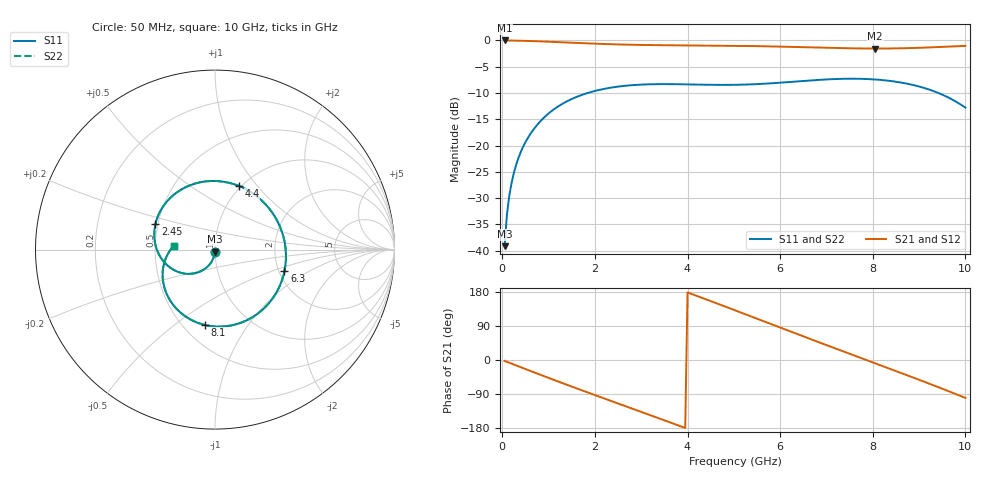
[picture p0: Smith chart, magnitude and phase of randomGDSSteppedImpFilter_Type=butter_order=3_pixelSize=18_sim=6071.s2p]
! freq	dB(S11)	phase(S11)	dB(S12)	phase(S12)
!  dB(S21)	phase(S21)	dB(S22)	phase(S22)
!S-par simulation data
#  GHz  S  DB  R 50
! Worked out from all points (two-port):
!   200 points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, 50 MHz to 10 GHz, reference 50 ohm
!   highest |S21| = 0.00 dB at 50 MHz (marker M1); lowest = -1.5 dB at 8.05 GHz (marker M2)
!   |S21| within 3 dB of the highest: start of sweep to end of sweep
!   lowest |S11| = -39.1 dB at 50 MHz (marker M3), VSWR 1.02, Z = 49.9 - j1.1 ohm
!   |S11| at or under -10 dB: start of sweep to 1.843 GHz; 9.417 GHz to end of sweep
!   |S22| runs from -39.1 to -7.3 dB; largest |S21 - S12| = 0
!   S11 on the Smith chart (normalised r, x): 50 MHz: 1.00, -0.02; 2.45 GHz: 0.48, +0.16; 4.4 GHz: 0.98, +0.81; 6.3 GHz: 2.14, -0.62; 8.1 GHz: 0.63, -0.65; 10 GHz: 0.63, +0.03
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0.05  -39.15 -92.2  -0.00 -2.4  -0.00 -2.4  -39.15 -92.2
0.1  -33.13 -94.8  -0.01 -4.8  -0.01 -4.8  -33.13 -94.8
0.2  -27.13 -99.8  -0.02 -9.6  -0.02 -9.6  -27.13 -99.8
0.35  -22.33 -107.2  -0.05 -16.7  -0.05 -16.7  -22.33 -107.2
0.5  -19.35 -114.7  -0.08 -23.8  -0.08 -23.8  -19.35 -114.7
1.15  -12.88 -144.9  -0.29 -54.2  -0.29 -54.2  -12.88 -144.9
1.75  -10.26 -172.2  -0.53 -81.5  -0.53 -81.5  -10.26 -172.2
2.45  -8.84 156.6  -0.75 -112.6  -0.75 -112.6  -8.84 156.6
3.4  -8.31 114.5  -0.90 -154.7  -0.90 -154.7  -8.31 114.5
3.9  -8.34 92.1  -0.94 -177.1  -0.94 -177.1  -8.34 92.1
4.4  -8.43 69.5  -0.97 160.1  -0.97 160.1  -8.43 69.5
5.05  -8.44 39.8  -1.02 130.0  -1.02 130.0  -8.44 39.8
5.7  -8.22 10.0  -1.12 99.7  -1.12 99.7  -8.22 10.0
6.3  -7.85 -17.3  -1.24 71.7  -1.24 71.7  -7.85 -17.4
6.7  -7.58 -35.4  -1.34 53.1  -1.34 53.1  -7.58 -35.5
7.4  -7.29 -66.7  -1.48 21.0  -1.48 21.0  -7.29 -66.8
8.05  -7.43 -95.5  -1.54 -8.6  -1.54 -8.6  -7.43 -95.5
8.1  -7.46 -97.7  -1.54 -10.9  -1.54 -10.9  -7.46 -97.7
8.35  -7.68 -108.7  -1.53 -22.3  -1.53 -22.3  -7.68 -108.8
8.8  -8.34 -128.7  -1.46 -42.9  -1.46 -42.9  -8.34 -128.8
9.25  -9.44 -149.3  -1.32 -63.8  -1.32 -63.8  -9.44 -149.4
10  -12.78 174.6  -1.03 -100.0  -1.03 -100.0  -12.78 174.5
